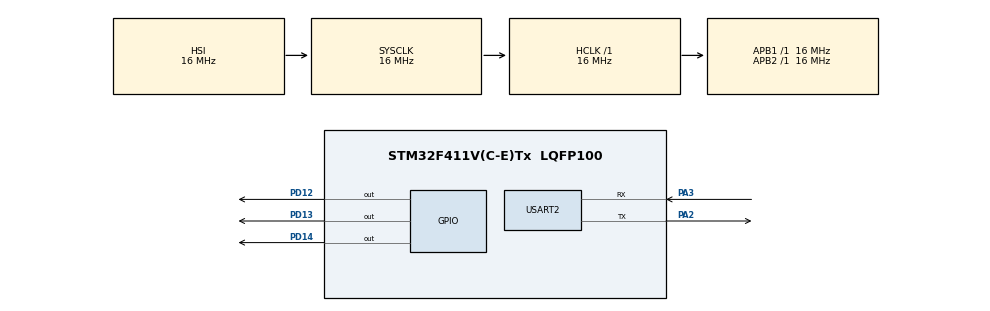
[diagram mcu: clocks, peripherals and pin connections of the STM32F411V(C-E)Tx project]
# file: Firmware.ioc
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Dma.Request0=USART2_RX
Dma.USART2_RX.0.Direction=DMA_PERIPH_TO_MEMORY
Dma.USART2_RX.0.FIFOMode=DMA_FIFOMODE_DISABLE
Dma.USART2_RX.0.Instance=DMA1_Stream5
Dma.USART2_RX.0.MemDataAlignment=DMA_MDATAALIGN_BYTE
Dma.USART2_RX.0.MemInc=DMA_MINC_ENABLE
Dma.USART2_RX.0.Mode=DMA_NORMAL
Dma.USART2_RX.0.PeriphDataAlignment=DMA_PDATAALIGN_BYTE
Dma.USART2_RX.0.PeriphInc=DMA_PINC_DISABLE
Dma.USART2_RX.0.Priority=DMA_PRIORITY_LOW
FREERTOS.Tasks01=task1,24,128,blinkled01,Default,NULL,Dynamic,NULL,NULL;task2,8,128,blinkled02,Default,NULL,Dynamic,NULL,NULL;task3,8,128,UART,Default,NULL,Dynamic,NULL,NULL
Mcu.Family=STM32F4
Mcu.Name=STM32F411V(C-E)Tx
Mcu.Package=LQFP100
NVIC.DMA1_Stream5_IRQn=true\:5\:0\:false\:false\:true\:true\:false\:true\:true
NVIC.PriorityGroup=NVIC_PRIORITYGROUP_4
PA13.Mode=Serial_Wire
PA13.Signal=SYS_JTMS-SWDIO
PA14.Mode=Serial_Wire
PA14.Signal=SYS_JTCK-SWCLK
PA2.Mode=Asynchronous
PA2.Signal=USART2_TX
PA3.Mode=Asynchronous
PA3.Signal=USART2_RX
PD12.Signal=GPIO_Output
PD13.Signal=GPIO_Output
PD14.Signal=GPIO_Output
ProjectManager.HeapSize=0x200
ProjectManager.StackSize=0x400
ProjectManager.TargetToolchain=STM32CubeIDE
RCC.AHBFreq_Value=16000000
RCC.APB1Freq_Value=16000000
RCC.APB2Freq_Value=16000000
RCC.CortexFreq_Value=16000000
RCC.HSE_VALUE=25000000
RCC.HSI_VALUE=16000000
RCC.LSE_VALUE=32768
RCC.SYSCLKFreq_VALUE=16000000
RCC.VCOOutputFreq_Value=192000000
USART2.VirtualMode=VM_ASYNC
VP_FREERTOS_VS_CMSIS_V2.Mode=CMSIS_V2
board=custom

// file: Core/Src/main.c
/* USER CODE BEGIN Header */
/**
  ******************************************************************************
  * @file           : main.c
  * @brief          : Main program body
  ******************************************************************************
  * @attention
  *
  * Copyright (c) 2024 STMicroelectronics.
  * All rights reserved.
  *
  * This software is licensed under terms that can be found in the LICENSE file
  * in the root directory of this software component.
  * If no LICENSE file comes with this software, it is provided AS-IS.
  *
  ******************************************************************************
  */
/* USER CODE END Header */
#include "main.h"
#include "cmsis_os.h"

/* USER CODE BEGIN Includes */
#include <stdio.h>
#include <string.h>
#include <malloc.h>
/* USER CODE END Includes */

UART_HandleTypeDef huart2;
DMA_HandleTypeDef hdma_usart2_rx;

/* Definitions for task1 */
osThreadId_t task1Handle;
const osThreadAttr_t task1_attributes = {
  .name = "task1",
  .stack_size = 128 * 4,
  .priority = (osPriority_t) osPriorityNormal,
};
/* Definitions for task2 */
osThreadId_t task2Handle;
const osThreadAttr_t task2_attributes = {
  .name = "task2",
  .stack_size = 128 * 4,
  .priority = (osPriority_t) osPriorityLow,
};
/* Definitions for task3 */
osThreadId_t task3Handle;
const osThreadAttr_t task3_attributes = {
  .name = "task3",
  .stack_size = 128 * 4,
  .priority = (osPriority_t) osPriorityLow,
};

void SystemClock_Config(void);
static void MX_GPIO_Init(void);
static void MX_DMA_Init(void);
static void MX_USART2_UART_Init(void);
void blinkled01(void *argument);
void blinkled02(void *argument);
void UART(void *argument);

int main(void)
{

  /* USER CODE BEGIN 1 */
	SCB->VTOR=FLASH_BASE|0x20000;
  /* USER CODE END 1 */

  /* MCU Configuration--------------------------------------------------------*/

  /* Reset of all peripherals, Initializes the Flash interface and the Systick. */
  HAL_Init();

  /* USER CODE BEGIN Init */

  HAL_FLASH_Unlock();
  FLASH_EraseInitTypeDef sector3 = {
  				 .TypeErase = FLASH_TYPEERASE_SECTORS,
  				 .Banks = FLASH_BANK_1,
  				 .Sector = FLASH_SECTOR_3,
  				 .NbSectors = 1,
  				 .VoltageRange = FLASH_VOLTAGE_RANGE_1,
  		 };
  		 uint32_t* sector_err = 0;
  		 HAL_FLASHEx_Erase(&sector3, &sector_err);
  		 char* fw_new = (char*)"veryfied";
  		 for(int i = 0; i < sizeof(fw_new); i++)
  		 {
  			 HAL_FLASH_Program(FLASH_TYPEPROGRAM_BYTE, 0x0800C000 +i, fw_new[i]);
  		 }
  /* USER CODE END Init */

  /* Configure the system clock */
  SystemClock_Config();

  /* Initialize all configured peripherals */
  MX_GPIO_Init();
  MX_DMA_Init();
  MX_USART2_UART_Init();

  /* Init scheduler */
  osKernelInitialize();

  /* Create the thread(s) */
  /* creation of task1 */
  task1Handle = osThreadNew(blinkled01, NULL, &task1_attributes);

  /* creation of task2 */
  task2Handle = osThreadNew(blinkled02, NULL, &task2_attributes);

  /* creation of task3 */
  task3Handle = osThreadNew(UART, NULL, &task3_attributes);

  /* Start scheduler */
  osKernelStart();

  /* We should never get here as control is now taken by the scheduler */

  /* Infinite loop */
  while (1)
  {

  }
}

void SystemClock_Config(void)
{
  RCC_OscInitTypeDef RCC_OscInitStruct = {0};
  RCC_ClkInitTypeDef RCC_ClkInitStruct = {0};

  /** Configure the main internal regulator output voltage
  */
  __HAL_RCC_PWR_CLK_ENABLE();
  __HAL_PWR_VOLTAGESCALING_CONFIG(PWR_REGULATOR_VOLTAGE_SCALE1);

  /** Initializes the RCC Oscillators according to the specified parameters
  * in the RCC_OscInitTypeDef structure.
  */
  RCC_OscInitStruct.OscillatorType = RCC_OSCILLATORTYPE_HSI;
  RCC_OscInitStruct.HSIState = RCC_HSI_ON;
  RCC_OscInitStruct.HSICalibrationValue = RCC_HSICALIBRATION_DEFAULT;
  RCC_OscInitStruct.PLL.PLLState = RCC_PLL_NONE;
  if (HAL_RCC_OscConfig(&RCC_OscInitStruct) != HAL_OK)
  {
    Error_Handler();
  }

  /** Initializes the CPU, AHB and APB buses clocks
  */
  RCC_ClkInitStruct.ClockType = RCC_CLOCKTYPE_HCLK|RCC_CLOCKTYPE_SYSCLK
                              |RCC_CLOCKTYPE_PCLK1|RCC_CLOCKTYPE_PCLK2;
  RCC_ClkInitStruct.SYSCLKSource = RCC_SYSCLKSOURCE_HSI;
  RCC_ClkInitStruct.AHBCLKDivider = RCC_SYSCLK_DIV1;
  RCC_ClkInitStruct.APB1CLKDivider = RCC_HCLK_DIV1;
  RCC_ClkInitStruct.APB2CLKDivider = RCC_HCLK_DIV1;

  if (HAL_RCC_ClockConfig(&RCC_ClkInitStruct, FLASH_LATENCY_0) != HAL_OK)
  {
    Error_Handler();
  }
}

static void MX_USART2_UART_Init(void)
{

  huart2.Instance = USART2;
  huart2.Init.BaudRate = 115200;
  huart2.Init.WordLength = UART_WORDLENGTH_8B;
  huart2.Init.StopBits = UART_STOPBITS_1;
  huart2.Init.Parity = UART_PARITY_NONE;
  huart2.Init.Mode = UART_MODE_TX_RX;
  huart2.Init.HwFlowCtl = UART_HWCONTROL_NONE;
  huart2.Init.OverSampling = UART_OVERSAMPLING_16;
  if (HAL_UART_Init(&huart2) != HAL_OK)
  {
    Error_Handler();
  }

}

static void MX_DMA_Init(void)
{

  /* DMA controller clock enable */
  __HAL_RCC_DMA1_CLK_ENABLE();

  /* DMA interrupt init */
  /* DMA1_Stream5_IRQn interrupt configuration */
  HAL_NVIC_SetPriority(DMA1_Stream5_IRQn, 5, 0);
  HAL_NVIC_EnableIRQ(DMA1_Stream5_IRQn);

}

static void MX_GPIO_Init(void)
{
  GPIO_InitTypeDef GPIO_InitStruct = {0};

  /* GPIO Ports Clock Enable */
  __HAL_RCC_GPIOA_CLK_ENABLE();
  __HAL_RCC_GPIOD_CLK_ENABLE();

  /*Configure GPIO pin Output Level */
  HAL_GPIO_WritePin(GPIOD, GPIO_PIN_12|GPIO_PIN_13|GPIO_PIN_14, GPIO_PIN_RESET);

  /*Configure GPIO pins : PD12 PD13 PD14 */
  GPIO_InitStruct.Pin = GPIO_PIN_12|GPIO_PIN_13|GPIO_PIN_14;
  GPIO_InitStruct.Mode = GPIO_MODE_OUTPUT_PP;
  GPIO_InitStruct.Pull = GPIO_NOPULL;
  GPIO_InitStruct.Speed = GPIO_SPEED_FREQ_LOW;
  HAL_GPIO_Init(GPIOD, &GPIO_InitStruct);

}

void blinkled01(void *argument)
{
  /* USER CODE BEGIN 5 */
  /* Infinite loop */
  for(;;)
  {
	  HAL_GPIO_WritePin(GPIOD, GPIO_PIN_12, GPIO_PIN_SET);
    osDelay(1000);
    HAL_GPIO_WritePin(GPIOD, GPIO_PIN_12, GPIO_PIN_RESET);
    osDelay(1000);
  }
  /* USER CODE END 5 */
}

void blinkled02(void *argument)
{
  /* USER CODE BEGIN blinkled02 */
  /* Infinite loop */
  for(;;)
  {
	  HAL_GPIO_WritePin(GPIOD, GPIO_PIN_13, GPIO_PIN_SET);
	    osDelay(2000);
	    HAL_GPIO_WritePin(GPIOD, GPIO_PIN_13, GPIO_PIN_RESET);
	    osDelay(2000);
  }
  /* USER CODE END blinkled02 */
}

/* USER CODE BEGIN Header_UART */
int fw_recv_done = 0;
void HAL_UART_RxCpltCallback(UART_HandleTypeDef *huart)
{
	fw_recv_done = 1;
}

#define UART_USE_DMA
/**
* @brief Function implementing the task3 thread.
* @param argument: Not used
* @retval None
*/
/* USER CODE END Header_UART */
void UART(void *argument)
{
  /* USER CODE BEGIN UART */
  /* Infinite loop */
	uint8_t* msg = (uint8_t*)"PROGRAM V21 \r\n";
	uint8_t* recv_buff[32] = {0};
	HAL_UART_Transmit(&huart2, msg, strlen((char*)msg), HAL_MAX_DELAY);
	HAL_UART_Receive_DMA(&huart2, recv_buff, sizeof(recv_buff));

  for(;;)
  {
	  if(strstr((char*)recv_buff,"\r\n") != 0)
	  {
		 HAL_UART_DMAStop(&huart2);
		 if(strstr((char*)recv_buff,"\r\n")!=0)
		 {
			 if(strstr(recv_buff,"update")!=0)
			 {
				 int new_fw_size = 0;
				 sscanf(recv_buff,"update =%d",&new_fw_size);
				 char msg_1[32] = {0};
				 sprintf(msg_1,"Plese send %d byte data:\r\n" , new_fw_size);
				 msg = (uint8_t*)msg_1;
				 HAL_UART_Transmit(&huart2, msg, strlen((char*)msg), HAL_MAX_DELAY);
				 uint8_t* new_fw = (uint8_t*)malloc(new_fw_size);
				 HAL_UART_Receive_DMA(&huart2, new_fw, new_fw_size);
				 while(fw_recv_done != 1)
					 {
						 osDelay(1);

					 }
				 HAL_FLASH_Unlock();
				 FLASH_EraseInitTypeDef sector6 = {
						 .TypeErase = FLASH_TYPEERASE_SECTORS,
						 .Banks = FLASH_BANK_1,
						 .Sector = FLASH_SECTOR_6,
						 .NbSectors = 1,
						 .VoltageRange = FLASH_VOLTAGE_RANGE_1,
				 };
				 uint32_t* sector_err = 0;
				 HAL_FLASHEx_Erase(&sector6, &sector_err);
				 for(int i = 0; i < new_fw_size; i++)
				 {
					 HAL_FLASH_Program(FLASH_TYPEPROGRAM_BYTE, 0x08040000 +i, new_fw[i]);
				 }
				 msg = (uint8_t*)"Dowload new success\r\n";
				 HAL_UART_Transmit(&huart2, msg, strlen((char*)msg), HAL_MAX_DELAY);
				 FLASH_EraseInitTypeDef sector7 = {
								 .TypeErase = FLASH_TYPEERASE_SECTORS,
								 .Banks = FLASH_BANK_1,
								 .Sector = FLASH_SECTOR_7,
								 .NbSectors = 1,
								 .VoltageRange = FLASH_VOLTAGE_RANGE_1,
						 };
						 HAL_FLASHEx_Erase(&sector7, &sector_err);
						 char* old_fw = (char*)0x08020000;
						 for(int i = 0; i < 131072; i++)
						 {
							 HAL_FLASH_Program(FLASH_TYPEPROGRAM_BYTE, 0x08060000 +i, old_fw[i]);
						 }
						 msg = (uint8_t*)"Backup...\r\n";
						 HAL_UART_Transmit(&huart2, msg, strlen((char*)msg), HAL_MAX_DELAY);
						FLASH_EraseInitTypeDef sector3 = {
										 .TypeErase = FLASH_TYPEERASE_SECTORS,
										 .Banks = FLASH_BANK_1,
										 .Sector = FLASH_SECTOR_3,
										 .NbSectors = 1,
										 .VoltageRange = FLASH_VOLTAGE_RANGE_1,
								 };
								 HAL_FLASHEx_Erase(&sector3, &sector_err);
								 char* new_interrup = (char*)"new_fw";
								 for(int i = 0; i < strlen(new_interrup); i++)
								 {
									 HAL_FLASH_Program(FLASH_TYPEPROGRAM_BYTE, 0x0800C000 +i, new_interrup[i]);
								 }
								 msg = (uint8_t*)"Done!\r\n";
				 				 HAL_NVIC_SystemReset();

			  }else {
				  msg = (uint8_t*)"Command not found\r\n";
			  }
			  HAL_UART_Transmit(&huart2, msg, strlen((char*)msg), HAL_MAX_DELAY);
			  memset(recv_buff, 0 , sizeof(recv_buff));
			  HAL_UART_Receive_DMA(&huart2, recv_buff, sizeof(recv_buff));
			  }
	  }
    osDelay(1);
  }
  /* USER CODE END UART */
}

void Error_Handler(void)
{
  __disable_irq();
  while (1)
  {
  }
}
